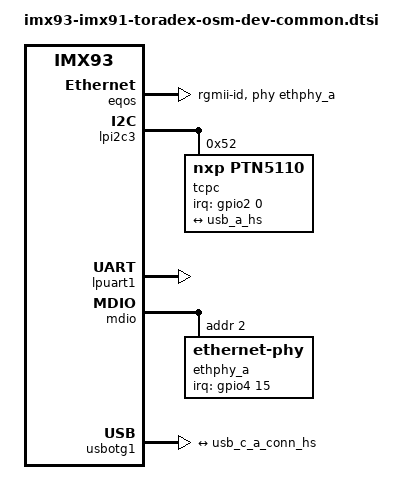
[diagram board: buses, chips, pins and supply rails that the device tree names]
// SPDX-License-Identifier: GPL-2.0-or-later OR MIT
/*
 * Copyright (C) 2025 Toradex
 *
 * Toradex OSM iMX93/iMX91 SoM on OSM Development carrier board
 *
 * https://www.toradex.com/computer-on-modules/osm-arm-family/nxp-imx93
 * https://www.toradex.com/computer-on-modules/osm-arm-family/nxp-imx91
 * https://www.toradex.com/products/carrier-board/osm-development-board-kit
 */

#include <dt-bindings/interrupt-controller/irq.h>
#include <dt-bindings/net/ti-dp83867.h>
#include <dt-bindings/usb/pd.h>

/* OSM ETH_A */
&eqos {
	phy-handle = <&ethphy_a>;
	phy-mode = "rgmii-id";
	status = "okay";
};

/* OSM I2C_A */
&lpi2c3 {
	status = "okay";

	tcpc@52 {
		compatible = "nxp,ptn5110", "tcpci";
		reg = <0x52>;
		pinctrl-names = "default";
		pinctrl-0 = <&pinctrl_gpio_a0>;
		interrupt-parent = <&gpio2>;
		interrupts = <0 IRQ_TYPE_LEVEL_LOW>;

		connector {
			compatible = "usb-c-connector";
			label = "USB_A";
			data-role = "dual";
			power-role = "dual";
			try-power-role = "sink";
			self-powered;
			source-pdos = <PDO_FIXED(5000, 3000, PDO_FIXED_USB_COMM)>;
			sink-pdos = <PDO_FIXED(5000, 0, PDO_FIXED_USB_COMM)>;
			op-sink-microwatt = <0>;

			port {
				usb_c_a_conn_hs: endpoint {
					remote-endpoint = <&usb_a_hs>;
				};
			};
		};
	};
};

/* OSM UART_CON, used as the Linux Console */
&lpuart1 {
	status = "okay";
};

/* OSM ETH_MDIO */
&mdio {
	status = "okay";

	ethphy_a: ethernet-phy@2 {
		reg = <2>;
		pinctrl-names = "default";
		pinctrl-0 = <&pinctrl_gpio_a7>;
		interrupt-parent = <&gpio4>;
		interrupts = <15 IRQ_TYPE_LEVEL_LOW>;
		ti,rx-internal-delay = <DP83867_RGMIIDCTL_2_00_NS>;
		ti,tx-internal-delay = <DP83867_RGMIIDCTL_2_00_NS>;
	};

};

/* OSM USB_A */
&usbotg1 {
	status = "okay";

	port {
		usb_a_hs: endpoint {
			remote-endpoint = <&usb_c_a_conn_hs>;
		};
	};
};
